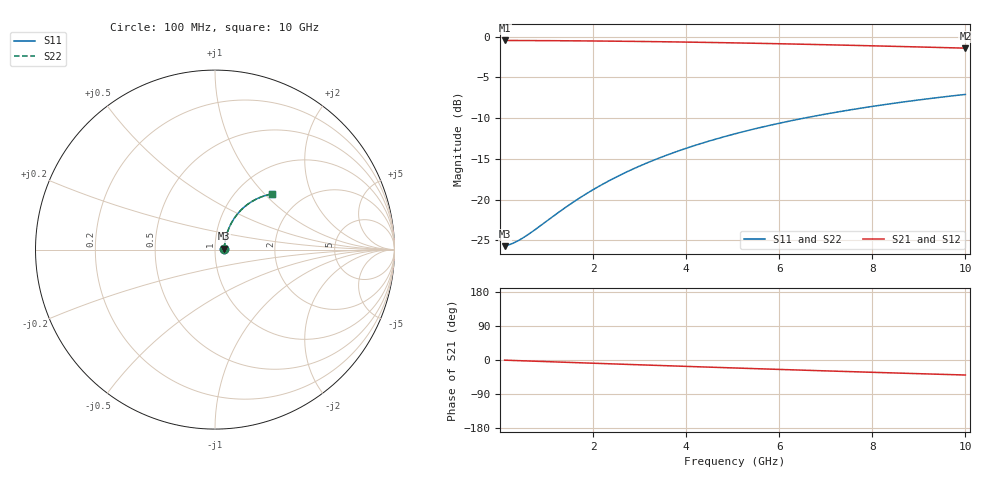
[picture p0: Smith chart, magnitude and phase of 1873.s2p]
# Hz S RI R 50.00
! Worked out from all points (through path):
!   100 points, 100 MHz to 10 GHz, reference 50 ohm
!   highest |S21| = -0.46 dB at 100 MHz (marker M1); lowest = -1.4 dB at 10 GHz (marker M2)
!   group delay of S21, straight-line fit = 11 ps
!   lowest |S11| = -25.7 dB at 100 MHz (marker M3), VSWR 1.11, Z = 55.4 + j0.53 ohm
!   |S11| at or under -10 dB: start of sweep to 6.528 GHz
!   |S22| runs from -25.7 to -7.1 dB; largest |S21 - S12| = 0
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1e8  0.0516 0.00476  0.9484 -0.00706  0.9484 -0.00706  0.0516 0.00476
2e8  0.0521 0.00952  0.9479 -0.0141  0.9479 -0.0141  0.0521 0.00952
3e8  0.0525 0.0143  0.9475 -0.0212  0.9475 -0.0212  0.0525 0.0143
4e8  0.0529 0.019  0.947 -0.0282  0.947 -0.0282  0.0529 0.019
5e8  0.0534 0.0237  0.9465 -0.0352  0.9465 -0.0352  0.0534 0.0237
7e8  0.0545 0.0332  0.9453 -0.0493  0.9453 -0.0493  0.0545 0.0332
1.4e9  0.0604 0.0658  0.9391 -0.098  0.9391 -0.098  0.0604 0.0658
1.8e9  0.0651 0.084  0.934 -0.1255  0.934 -0.1255  0.0651 0.084
2.2e9  0.0709 0.1019  0.9278 -0.1525  0.9278 -0.1525  0.0709 0.1019
2.6e9  0.0776 0.1193  0.9205 -0.1792  0.9205 -0.1792  0.0776 0.1193
3e9  0.0853 0.1362  0.9122 -0.2053  0.9122 -0.2053  0.0853 0.1362
3.4e9  0.0939 0.1526  0.9029 -0.2309  0.9029 -0.2309  0.0939 0.1526
3.8e9  0.1034 0.1683  0.8926 -0.2559  0.8926 -0.2559  0.1034 0.1683
4.2e9  0.1137 0.1833  0.8814 -0.2802  0.8814 -0.2802  0.1137 0.1833
4.6e9  0.1247 0.1976  0.8694 -0.3038  0.8694 -0.3038  0.1247 0.1976
5.1e9  0.1395 0.2144  0.8533 -0.3322  0.8533 -0.3322  0.1395 0.2144
5.9e9  0.165 0.2387  0.8253 -0.3751  0.8253 -0.3751  0.165 0.2387
6.7e9  0.1926 0.2596  0.7949 -0.4147  0.7949 -0.4147  0.1926 0.2596
7.5e9  0.2216 0.277  0.7627 -0.4509  0.7627 -0.4509  0.2216 0.277
8.4e9  0.2553 0.2924  0.7249 -0.4876  0.7249 -0.4876  0.2553 0.2924
9.2e9  0.2858 0.3025  0.6903 -0.5167  0.6903 -0.5167  0.2858 0.3025
1e10  0.3164 0.3093  0.6552 -0.5426  0.6552 -0.5426  0.3164 0.3093
